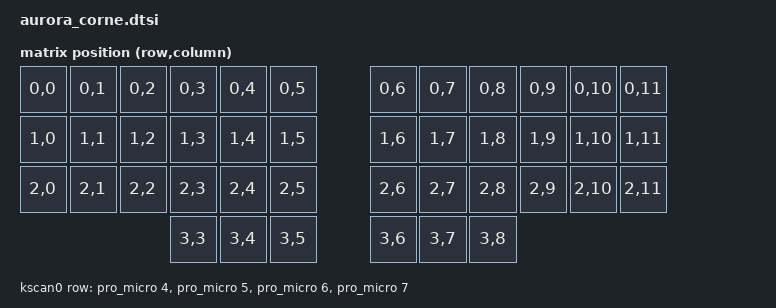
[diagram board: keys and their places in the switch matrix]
/*
 * Copyright (c) 2025 Surpher
 * SPDX-License-Identifier: MIT
 * aurora_corne.dtsi
 */

#include <dt-bindings/led/led.h>
#include <dt-bindings/zmk/matrix_transform.h>

 / {
    chosen {
        zmk,underglow = &led_strip;
        zmk,kscan = &kscan0;
        zmk,matrix_transform = &default_transform;
    };

    led_strip: ws2812 {
        compatible = "worldsemi,ws2812-pwm";
        chain-length = <27>;
        pin = <6>;
        color-mapping = <LED_COLOR_ID_GREEN LED_COLOR_ID_RED LED_COLOR_ID_BLUE>;
        status = "okay";
    };

    default_transform: keymap_transform_0 {
        compatible = "zmk,matrix-transform";
        columns = <12>;
        rows = <4>;
    // |  0  |  1  |  2  |  3  |  4  |  5  |        |  6  |  7  |  8  |  9  | 10  | 11  |
    // | 12  | 13  | 14  | 15  | 16  | 17  |        | 18  | 19  | 20  | 21  | 22  | 23  |
    // | 24  | 25  | 26  | 27  | 28  | 29  |        | 30  | 31  | 32  | 33  | 34  | 35  |
    //                   | 36  | 37  | 38  |        | 39  | 40  | 41  |
        map = <
RC(0,0) RC(0,1) RC(0,2) RC(0,3) RC(0,4) RC(0,5)  RC(0,6) RC(0,7) RC(0,8) RC(0,9) RC(0,10) RC(0,11)
RC(1,0) RC(1,1) RC(1,2) RC(1,3) RC(1,4) RC(1,5)  RC(1,6) RC(1,7) RC(1,8) RC(1,9) RC(1,10) RC(1,11)
RC(2,0) RC(2,1) RC(2,2) RC(2,3) RC(2,4) RC(2,5)  RC(2,6) RC(2,7) RC(2,8) RC(2,9) RC(2,10) RC(2,11)
                        RC(3,3) RC(3,4) RC(3,5)  RC(3,6) RC(3,7) RC(3,8)
        >;
    };

    kscan0: kscan {
        compatible = "zmk,kscan-gpio-matrix";
        label = "KSCAN";

        diode-direction = "col2row";
        row-gpios
            = <&pro_micro 4 (GPIO_ACTIVE_HIGH | GPIO_PULL_DOWN)>
            , <&pro_micro 5 (GPIO_ACTIVE_HIGH | GPIO_PULL_DOWN)>
            , <&pro_micro 6 (GPIO_ACTIVE_HIGH | GPIO_PULL_DOWN)>
            , <&pro_micro 7 (GPIO_ACTIVE_HIGH | GPIO_PULL_DOWN)>
            ;
    };
};
